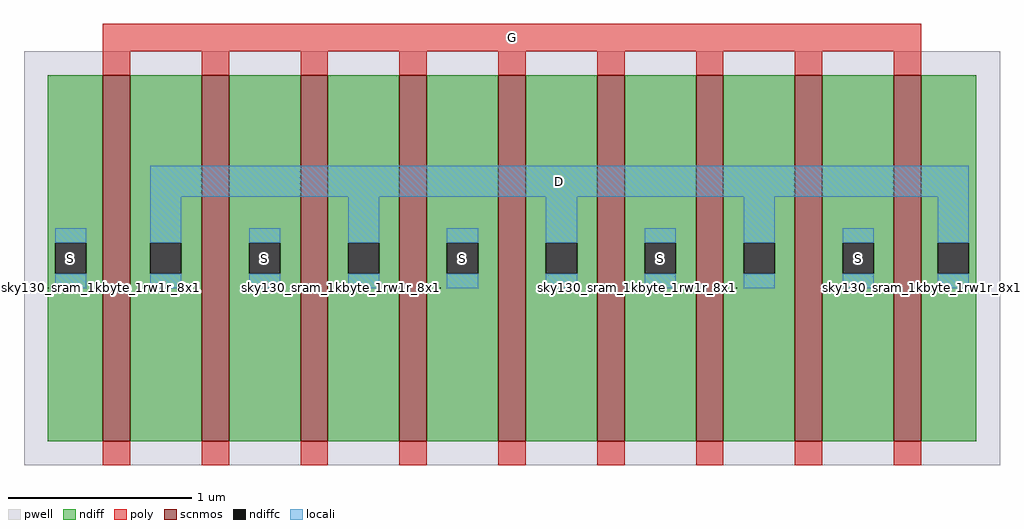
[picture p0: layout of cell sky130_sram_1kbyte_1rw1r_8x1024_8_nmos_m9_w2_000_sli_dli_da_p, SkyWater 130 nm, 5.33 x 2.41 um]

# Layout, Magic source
magic
tech sky130A
magscale 1 2
<< pwell >>
rect -26 -26 1040 426
<< scnmos >>
rect 60 0 90 400
rect 168 0 198 400
rect 276 0 306 400
rect 384 0 414 400
rect 492 0 522 400
rect 600 0 630 400
rect 708 0 738 400
rect 816 0 846 400
rect 924 0 954 400
<< ndiff >>
rect 0 217 60 400
rect 0 183 8 217
rect 42 183 60 217
rect 0 0 60 183
rect 90 217 168 400
rect 90 183 112 217
rect 146 183 168 217
rect 90 0 168 183
rect 198 217 276 400
rect 198 183 220 217
rect 254 183 276 217
rect 198 0 276 183
rect 306 217 384 400
rect 306 183 328 217
rect 362 183 384 217
rect 306 0 384 183
rect 414 217 492 400
rect 414 183 436 217
rect 470 183 492 217
rect 414 0 492 183
rect 522 217 600 400
rect 522 183 544 217
rect 578 183 600 217
rect 522 0 600 183
rect 630 217 708 400
rect 630 183 652 217
rect 686 183 708 217
rect 630 0 708 183
rect 738 217 816 400
rect 738 183 760 217
rect 794 183 816 217
rect 738 0 816 183
rect 846 217 924 400
rect 846 183 868 217
rect 902 183 924 217
rect 846 0 924 183
rect 954 217 1014 400
rect 954 183 972 217
rect 1006 183 1014 217
rect 954 0 1014 183
<< ndiffc >>
rect 8 183 42 217
rect 112 183 146 217
rect 220 183 254 217
rect 328 183 362 217
rect 436 183 470 217
rect 544 183 578 217
rect 652 183 686 217
rect 760 183 794 217
rect 868 183 902 217
rect 972 183 1006 217
<< poly >>
rect 60 426 954 456
rect 60 400 90 426
rect 168 400 198 426
rect 276 400 306 426
rect 384 400 414 426
rect 492 400 522 426
rect 600 400 630 426
rect 708 400 738 426
rect 816 400 846 426
rect 924 400 954 426
rect 60 -26 90 0
rect 168 -26 198 0
rect 276 -26 306 0
rect 384 -26 414 0
rect 492 -26 522 0
rect 600 -26 630 0
rect 708 -26 738 0
rect 816 -26 846 0
rect 924 -26 954 0
<< locali >>
rect 112 267 1006 301
rect 8 217 42 233
rect 8 167 42 183
rect 112 217 146 267
rect 112 167 146 183
rect 220 217 254 233
rect 220 167 254 183
rect 328 217 362 267
rect 328 167 362 183
rect 436 217 470 233
rect 436 167 470 183
rect 544 217 578 267
rect 544 167 578 183
rect 652 217 686 233
rect 652 167 686 183
rect 760 217 794 267
rect 760 167 794 183
rect 868 217 902 233
rect 868 167 902 183
rect 972 217 1006 267
rect 972 167 1006 183
use sky130_sram_1kbyte_1rw1r_8x1024_8_contact_11  sky130_sram_1kbyte_1rw1r_8x1024_8_contact_11_0
transform 1 0 964 0 1 167
box 0 0 1 1
use sky130_sram_1kbyte_1rw1r_8x1024_8_contact_11  sky130_sram_1kbyte_1rw1r_8x1024_8_contact_11_1
transform 1 0 860 0 1 167
box 0 0 1 1
use sky130_sram_1kbyte_1rw1r_8x1024_8_contact_11  sky130_sram_1kbyte_1rw1r_8x1024_8_contact_11_2
transform 1 0 752 0 1 167
box 0 0 1 1
use sky130_sram_1kbyte_1rw1r_8x1024_8_contact_11  sky130_sram_1kbyte_1rw1r_8x1024_8_contact_11_3
transform 1 0 644 0 1 167
box 0 0 1 1
use sky130_sram_1kbyte_1rw1r_8x1024_8_contact_11  sky130_sram_1kbyte_1rw1r_8x1024_8_contact_11_4
transform 1 0 536 0 1 167
box 0 0 1 1
use sky130_sram_1kbyte_1rw1r_8x1024_8_contact_11  sky130_sram_1kbyte_1rw1r_8x1024_8_contact_11_5
transform 1 0 428 0 1 167
box 0 0 1 1
use sky130_sram_1kbyte_1rw1r_8x1024_8_contact_11  sky130_sram_1kbyte_1rw1r_8x1024_8_contact_11_6
transform 1 0 320 0 1 167
box 0 0 1 1
use sky130_sram_1kbyte_1rw1r_8x1024_8_contact_11  sky130_sram_1kbyte_1rw1r_8x1024_8_contact_11_7
transform 1 0 212 0 1 167
box 0 0 1 1
use sky130_sram_1kbyte_1rw1r_8x1024_8_contact_11  sky130_sram_1kbyte_1rw1r_8x1024_8_contact_11_8
transform 1 0 104 0 1 167
box 0 0 1 1
use sky130_sram_1kbyte_1rw1r_8x1024_8_contact_11  sky130_sram_1kbyte_1rw1r_8x1024_8_contact_11_9
transform 1 0 0 0 1 167
box 0 0 1 1
<< labels >>
rlabel locali s 25 200 25 200 4 S
port 1 nsew
rlabel locali s 885 200 885 200 4 S
port 1 nsew
rlabel locali s 237 200 237 200 4 S
port 1 nsew
rlabel locali s 453 200 453 200 4 S
port 1 nsew
rlabel locali s 669 200 669 200 4 S
port 1 nsew
rlabel locali s 559 284 559 284 4 D
port 2 nsew
rlabel poly s 507 441 507 441 4 G
port 3 nsew
<< properties >>
string FIXED_BBOX -25 -26 1039 456
string GDS_FILE $PDKPATH/libs.ref/sky130_sram_macros/gds/sky130_sram_1kbyte_1rw1r_8x1024_8.gds
string GDS_END 32642
string GDS_START 29990
<< end >>
